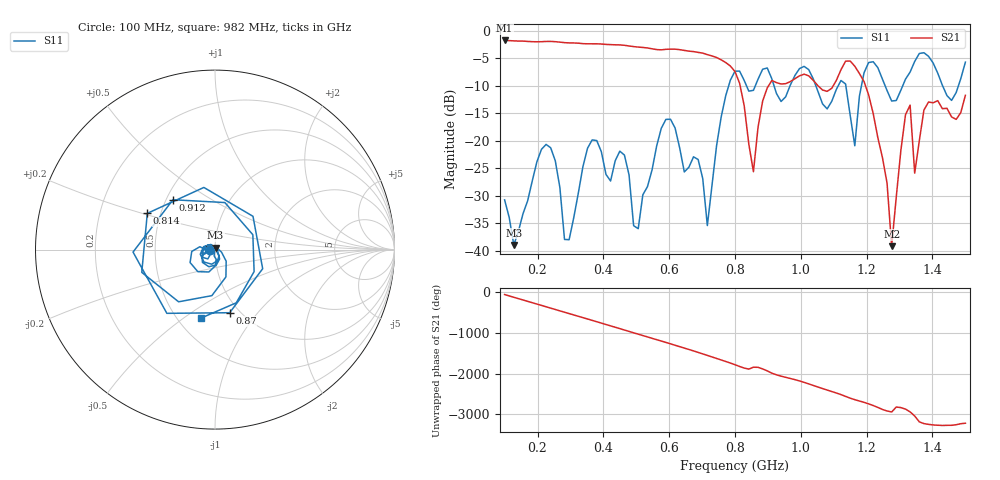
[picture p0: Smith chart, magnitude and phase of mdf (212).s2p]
! NanoVNA-App
! Date: 2025-09-25 15:40:04
! Start: 100MHz Stop: 1,5GHz Points: 101
! S-Parameter data: F S11 S21 S12 S22
# Hz S RI R 50
!  Frequency  S11_Real  S11_Imag  S21_Real  S21_Imag  S12_Real  S12_Imag  S22_Real  S22_Imag
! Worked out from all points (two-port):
!   101 points, 100 MHz to 1.5 GHz, reference 50 ohm
!   highest |S21| = -1.80 dB at 100 MHz (marker M1); lowest = -39.2 dB at 1.276 GHz (marker M2)
!   |S21| within 3 dB of the highest: start of sweep to 739.2 MHz
!   lowest |S11| = -39.0 dB at 128 MHz (marker M3), VSWR 1.02, Z = 50.3 + j1.07 ohm
!   |S11| at or under -10 dB: start of sweep to 781 MHz; 1.045 GHz to 1.114 GHz (68.58 MHz wide, 6.35 % of centre); 1.256 GHz to 1.31 GHz (54.03 MHz wide, 4.21 % of centre) (the widest 3 of 7)
!   S12 and S22 are empty: the file has one direction only
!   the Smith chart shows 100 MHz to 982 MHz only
!   S11 on the Smith chart (normalised r, x): 100 MHz: 0.94, -0.01; 814 MHz: 0.42, +0.21; 870 MHz: 0.90, -0.73; 912 MHz: 0.54, +0.35; 982 MHz: 0.65, -0.58
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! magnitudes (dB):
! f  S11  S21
! 100 MHz  -30.8  -1.8
! 128 MHz  -39.0  -1.9
! 212 MHz  -21.6  -2.0
! 282 MHz  -38.0  -2.2
! 338 MHz  -24.7  -2.4
! 464 MHz  -22.6  -2.7
! 506 MHz  -36.0  -3.0
! 576 MHz  -17.8  -3.5
! 716 MHz  -35.4  -4.4
! 800 MHz  -7.4  -7.5
! 814 MHz  -7.4  -9.6
! 856 MHz  -10.9  -25.7
! 870 MHz  -8.8  -17.6
! 912 MHz  -8.8  -9.1
! 982 MHz  -8.2  -8.8
! 1.038 GHz  -8.8  -9.1
! 1.164 GHz  -20.9  -6.5
! 1.192 GHz  -7.7  -9.3
! 1.276 GHz  -12.8  -39.2
! 1.332 GHz  -7.5  -13.6
! 1.346 GHz  -5.6  -25.9
! 1.5 GHz  -5.7  -11.8
